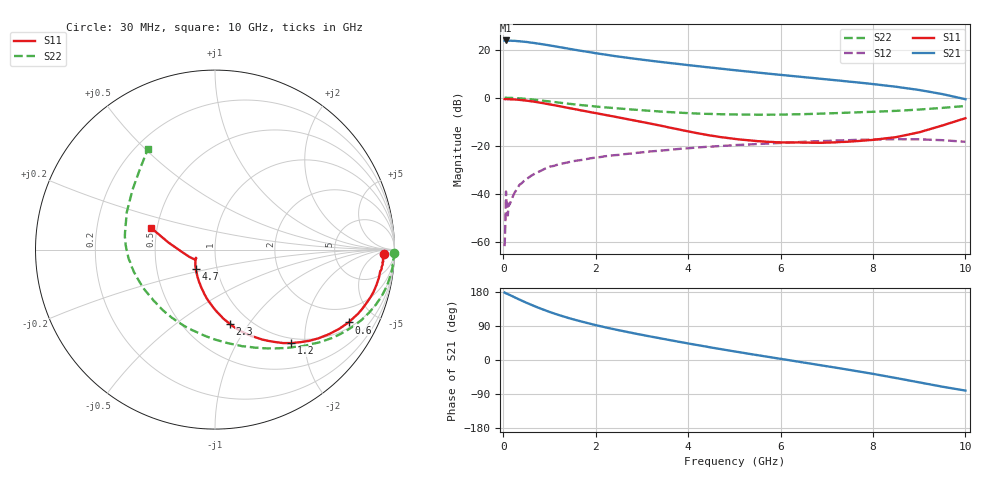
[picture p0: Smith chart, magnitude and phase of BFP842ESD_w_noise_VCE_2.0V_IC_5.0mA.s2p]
! Infineon Technologies  Discrete & RF Semiconductors
! BFP842ESD
! VCE =  2.0 V,  IC =  5.0 mA
! Common Emitter S-Parameters:  May 2012
# GHz  S  MA  R  50
!  f  S11  S21  S12  S22
! GHz  MAG  ANG  MAG  ANG  MAG  ANG  MAG  ANG
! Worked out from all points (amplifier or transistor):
!   99 points, 30 MHz to 10 GHz, reference 50 ohm
!   highest |S21| = 23.9 dB at 60 MHz (marker M1)
!   |S21| within 3 dB of that: start of sweep to 1.282 GHz
!   unconditionally stable (mu >= 1): 3.501 GHz to end of sweep
!   at 350 MHz: K = 0.22, MSG = 30.0 dB, |S12| = -36.4 dB
!   at 3.5 GHz: K = 1.00, MSG = 18.3 dB, |S12| = -21.9 dB
!   at 10 GHz: K = 2.06, MAG = 3.0 dB, |S12| = -18.4 dB
!   lowest NFmin = 0.41 dB at 450 MHz
!   S11 on the Smith chart (normalised r, x): 30 MHz: 27, -11; 600 MHz: 1.22, -3.53; 1.2 GHz: 0.91, -1.73; 2.3 GHz: 0.81, -0.82; 4.7 GHz: 0.79, -0.17; 10 GHz: 0.46, +0.13
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0.03  0.9394 -1.5  15.6 178.0  0.0008 -86.1  0.9993 -1.1
0.05  0.9344 -2.7  15.49 176.4  0.0034 -20.5  1 -2.0
0.06  0.9403 -3.0  15.72 176.0  0.0111 122.0  1 -1.9
0.1  0.9384 -5.0  15.53 174.0  0.0035 107.4  0.9948 -3.9
0.12  0.933 -6.2  15.6 172.8  0.0062 86.5  0.9972 -4.6
0.25  0.9207 -12.4  15.43 165.2  0.0106 81.7  0.9847 -9.7
0.45  0.8844 -21.9  14.77 153.9  0.0184 75.5  0.9561 -17.1
0.6  0.8476 -28.6  14.19 146.0  0.0234 69.2  0.9275 -22.3
0.9  0.7602 -40.5  12.87 131.5  0.033 62.2  0.8607 -31.6
1.2  0.6723 -50.8  11.48 118.8  0.041 56.2  0.7951 -39.5
1.5  0.5918 -59.4  10.24 107.8  0.0473 51.3  0.7366 -46.5
1.7  0.5416 -64.8  9.508 101.3  0.0505 48.0  0.7011 -50.6
2  0.479 -72.1  8.523 92.1  0.0566 44.3  0.658 -56.6
2.3  0.4224 -78.7  7.726 83.7  0.0616 40.4  0.6215 -62.3
2.9  0.3266 -91.1  6.431 68.7  0.0711 34.3  0.5596 -74.2
3.4  0.2621 -102.0  5.613 57.2  0.0788 29.4  0.5162 -84.8
4  0.1993 -116.7  4.812 43.7  0.0882 23.1  0.4786 -98.8
4.7  0.1513 -134.9  4.061 28.9  0.0985 15.0  0.4541 -115.7
5.1  0.1352 -144.1  3.69 20.8  0.1039 10.5  0.4467 -125.0
6.7  0.1151 -155.9  2.588 -10.5  0.1234 -8.5  0.4614 -160.2
8.5  0.151 -165.2  1.698 -47.6  0.1368 -36.2  0.5339 157.0
10  0.3747 161.3  0.934 -80.7  0.1207 -65.8  0.6735 123.7
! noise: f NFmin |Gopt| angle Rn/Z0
0.45  0.41  0.38  3  0.11
0.9  0.43  0.4  8  0.11
1.5  0.46  0.41  19  0.11
1.9  0.48  0.39  29  0.11
2.4  0.52  0.36  42  0.1
3.5  0.63  0.26  79  0.08
4  0.66  0.22  100  0.08
5  0.72  0.2  119  0.07
5.5  0.84  0.18  145  0.07
6  0.97  0.16  155  0.08
